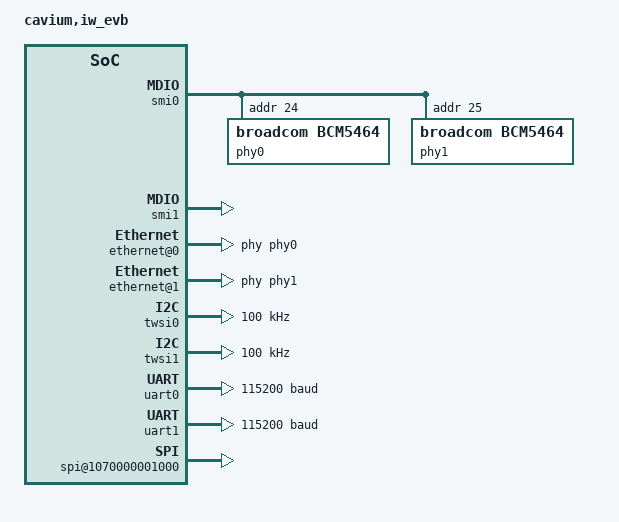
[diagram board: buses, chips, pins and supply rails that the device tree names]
/dts-v1/;
/*
 * Cavium Inc. IW_EVB board
 */
/ {
	model = "cavium,iw_evb";
	compatible = "cavium,iw_evb";
	#address-cells = <2>;
	#size-cells = <2>;
	interrupt-parent = <&ciu>;

	soc@0 {
		compatible = "simple-bus";
		#address-cells = <2>;
		#size-cells = <2>;
		ranges; /* Direct mapping */

		ciu: interrupt-controller@1070000000000 {
			compatible = "cavium,octeon-3860-ciu";
			interrupt-controller;
			/* Interrupts are specified by two parts:
			 * 1) Controller register (0 or 1)
			 * 2) Bit within the register (0..63)
			 */
			#interrupt-cells = <2>;
			reg = <0x10700 0x00000000 0x0 0x7000>;
		};

		gpio: gpio-controller@1070000000800 {
			#gpio-cells = <2>;
			compatible = "cavium,octeon-3860-gpio";
			reg = <0x10700 0x00000800 0x0 0x100>;
			gpio-controller;
			/* Interrupts are specified by two parts:
			 * 1) GPIO pin number (0..15)
			 * 2) Triggering (1 - edge rising
			 *		  2 - edge falling
			 *		  4 - level active high
			 *		  8 - level active low)
			 */
			interrupt-controller;
			#interrupt-cells = <2>;
			/* The GPIO pins connect to 16 consecutive CUI bits */
			interrupts = <0 16>; /* <0 17> <0 18> <0 19>
				     <0 20> <0 21> <0 22> <0 23>
				     <0 24> <0 25> <0 26> <0 27>
				     <0 28> <0 29> <0 30> <0 31>; */
		};

		smi0: mdio@1180000001800 {
			compatible = "cavium,octeon-3860-mdio";
			#address-cells = <1>;
			#size-cells = <0>;
			reg = <0x11800 0x00001800 0x0 0x40>;

			phy0: ethernet-phy@1 {
                                reg = <0x18>;
                                compatible = "broadcom,bcm5464";
                                interrupt-parent = <0x2>;
                                cavium,qlm-trim = "0,sgmii";
                                linux,phandle = <0x3>;
                                phandle = <0x3>;
			};

			phy1: ethernet-phy@2 {
                                reg = <0x19>;
                                compatible = "broadcom,bcm5464";
                                interrupt-parent = <0x2>;
                                cavium,qlm-trim = "0,sgmii";
                                linux,phandle = <0x4>;
                                phandle = <0x4>;
			};

		};

		smi1: mdio@1180000001900 {
			compatible = "cavium,octeon-3860-mdio";
			#address-cells = <1>;
			#size-cells = <0>;
			reg = <0x11800 0x00001900 0x0 0x40>;
		};

		pip: pip@11800a0000000 {
			compatible = "cavium,octeon-3860-pip";
			#address-cells = <1>;
			#size-cells = <0>;
			reg = <0x11800 0xa0000000 0x0 0x2000>;

			interface@0 {
				compatible = "cavium,octeon-3860-pip-interface";
				#address-cells = <1>;
				#size-cells = <0>;
				reg = <0>; /* interface */

				ethernet@0 {
					compatible = "cavium,octeon-3860-pip-port";
					reg = <0x0>; /* Port */
					local-mac-address = [ 00 00 00 00 00 00 ];
					phy-handle = <&phy0>;
				};
				ethernet@1 {
					compatible = "cavium,octeon-3860-pip-port";
					reg = <0x1>; /* Port */
					local-mac-address = [ 00 00 00 00 00 00 ];
					phy-handle = <&phy1>;
				};
			};


                };

		twsi0: i2c@1180000001000 {
			#address-cells = <1>;
			#size-cells = <0>;
			compatible = "cavium,octeon-3860-twsi";
			reg = <0x11800 0x00001000 0x0 0x200>;
			interrupts = <0 45>;
			clock-frequency = <100000>;
		};

		twsi1: i2c@1180000001200 {
			#address-cells = <1>;
			#size-cells = <0>;
			compatible = "cavium,octeon-3860-twsi";
			reg = <0x11800 0x00001200 0x0 0x200>;
			interrupts = <0 59>;
			clock-frequency = <100000>;
		};

		uart0: serial@1180000000800 {
			compatible = "cavium,octeon-3860-uart","ns16550";
			reg = <0x11800 0x00000800 0x0 0x400>;
			clock-frequency = <0>;
			current-speed = <115200>;
			reg-shift = <3>;
			interrupts = <0 34>;
		};

		uart1: serial@1180000000c00 {
			compatible = "cavium,octeon-3860-uart","ns16550";
			reg = <0x11800 0x00000c00 0x0 0x400>;
			clock-frequency = <0>;
			current-speed = <115200>;
			reg-shift = <3>;
			interrupts = <0 35>;
		};

		spi@1070000001000 {
			compatible = "cavium,octeon-3010-spi";
			reg = <0x10700 0x00001000 0x0 0x100>;
			interrupts = <0 58>;
			#address-cells = <1>;
			#size-cells = <0>;

		};


		bootbus: bootbus@1180000000000 {
			compatible = "cavium,octeon-3860-bootbus";
			reg = <0x11800 0x00000000 0x0 0x200>;
			/* The chip select number and offset */
			#address-cells = <2>;
			/* The size of the chip select region */
			#size-cells = <1>;
			ranges = <0 0  0       0x17c00000  0x8400000>,
				 <1 0  0x10000 0x30000000  0>,
				 <2 0  0       0x1d040000  0x10000>,
				 <3 0  0       0x1d050000  0x10000>,
				 <4 0  0       0x1d020000  0x10000>,
				 <5 0  0x10000 0x40000000  0>,
				 <6 0  0x10000 0x50000000  0>,
				 <7 0  0x10000 0x90000000  0>;

			cavium,cs-config@0 {
				compatible = "cavium,octeon-3860-bootbus-config";
                                cavium,cs-index = <0x0>;
                                cavium,t-adr = <0xa>;
                                cavium,t-ale = <0x22>;
                                cavium,t-ce = <0x32>;
                                cavium,t-oe = <0x32>;
                                cavium,t-we = <0x23>;
                                cavium,t-rd-hld = <0x19>;
                                cavium,t-wr-hld = <0x23>;
                                cavium,t-pause = <0x0>;
                                cavium,t-wait = <0x12c>;
                                cavium,t-page = <0x19>;
                                cavium,t-rd-dly = <0x0>;
                                cavium,pages = <0x0>;
                                cavium,bus-width = <0x10>;
                                cavium,ale-mode = <0x1>;
			};
			cavium,cs-config@3 {
				compatible = "cavium,octeon-3860-bootbus-config";
                                cavium,cs-index = <0x3>;
                                cavium,t-adr = <0x0>;
                                cavium,t-ce = <0x1e>;
                                cavium,t-oe = <0x7d>;
                                cavium,t-we = <0x96>;
                                cavium,t-rd-hld = <0x64>;
                                cavium,t-wr-hld = <0x1e>;
                                cavium,t-pause = <0x0>;
                                cavium,t-wait = <0x1e>;
                                cavium,t-page = <0x12c>;
                                cavium,t-rd-dly = <0x0>;
                                cavium,pages = <0x0>;
                                cavium,wait-mode;
                                cavium,bus-width = <0x10>;
			};

			flash0: nor@0,0 {
				compatible = "cfi-flash";
				reg = <0 0 0x8000000>;
				#address-cells = <1>;
				#size-cells = <1>;

			};


		};

		dma0: dma-engine@1180000000100 {
			compatible = "cavium,octeon-5750-bootbus-dma";
			reg = <0x11800 0x00000100 0x0 0x8>;
			interrupts = <0 63>;
		};
		dma1: dma-engine@1180000000108 {
			compatible = "cavium,octeon-5750-bootbus-dma";
			reg = <0x11800 0x00000108 0x0 0x8>;
			interrupts = <0 63>;
		};

	};


	gpio-leds {
		compatible = "gpio-leds";
	};

	aliases {
		pip = &pip;
		smi0 = &smi0;
		smi1 = &smi1;
		twsi0 = &twsi0;
		twsi1 = &twsi1;
		uart0 = &uart0;
		uart1 = &uart1;
		flash0 = &flash0;
	};
 };
